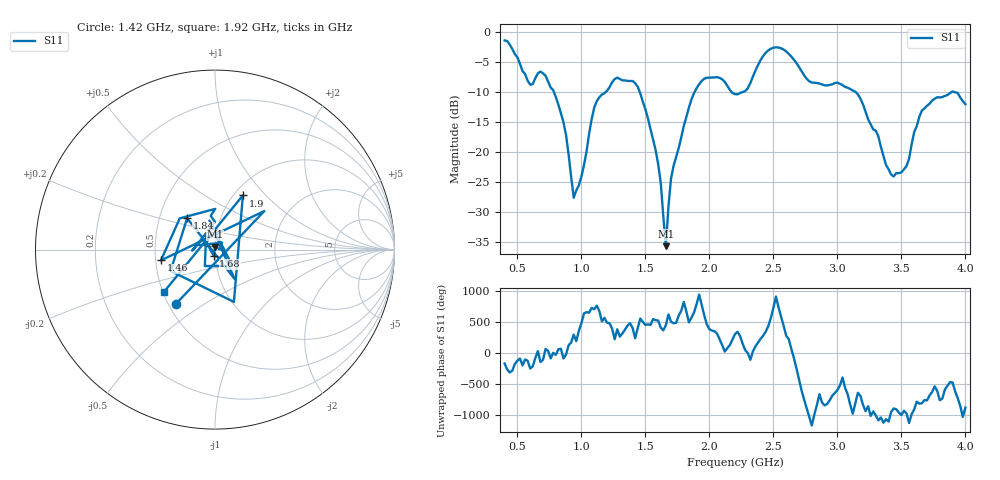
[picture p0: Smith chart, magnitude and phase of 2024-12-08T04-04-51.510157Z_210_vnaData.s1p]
!Created with skrf (http://scikit-rf.org).
# Hz S RI R 50.0
!freq ReS11 ImS11
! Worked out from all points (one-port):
!   181 points, 400 MHz to 4 GHz, reference 50 ohm
!   lowest |S11| = -35.7 dB at 1.66 GHz (marker M1), VSWR 1.03, Z = 50 + j1.64 ohm
!   |S11| at or under -10 dB: 784.9 MHz to 1.191 GHz (405.7 MHz wide, 41.1 % of centre); 1.455 GHz to 1.884 GHz (429 MHz wide, 25.7 % of centre); 3.142 GHz to 3.894 GHz (752.1 MHz wide, 21.4 % of centre) (the widest 3 of 5)
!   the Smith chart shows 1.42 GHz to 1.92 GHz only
!   S11 on the Smith chart (normalised r, x): 1.42 GHz: 0.55, -0.38; 1.46 GHz: 0.53, -0.07; 1.68 GHz: 0.98, -0.07; 1.84 GHz: 0.69, +0.26; 1.9 GHz: 1.10, +0.75; 1.92 GHz: 0.51, -0.28
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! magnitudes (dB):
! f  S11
! 400 MHz  -1.4
! 600 MHz  -8.8
! 720 MHz  -7.3
! 860 MHz  -15.1
! 940 MHz  -27.6
! 1 GHz  -24.1
! 1.1 GHz  -12.6
! 1.3 GHz  -7.8
! 1.42 GHz  -8.5
! 1.46 GHz  -10.3
! 1.6 GHz  -22.1
! 1.66 GHz  -35.7
! 1.68 GHz  -29.1
! 1.7 GHz  -24.5
! 1.76 GHz  -19.4
! 1.84 GHz  -12.6
! 1.9 GHz  -9.4
! 1.92 GHz  -8.7
! 2.2 GHz  -10.4
! 2.48 GHz  -2.8
! 2.66 GHz  -4.6
! 2.8 GHz  -8.4
! 3.1 GHz  -9.5
! 3.42 GHz  -23.8
! 3.56 GHz  -21.1
! 3.64 GHz  -14.2
! 3.74 GHz  -11.4
! 4 GHz  -12.0
